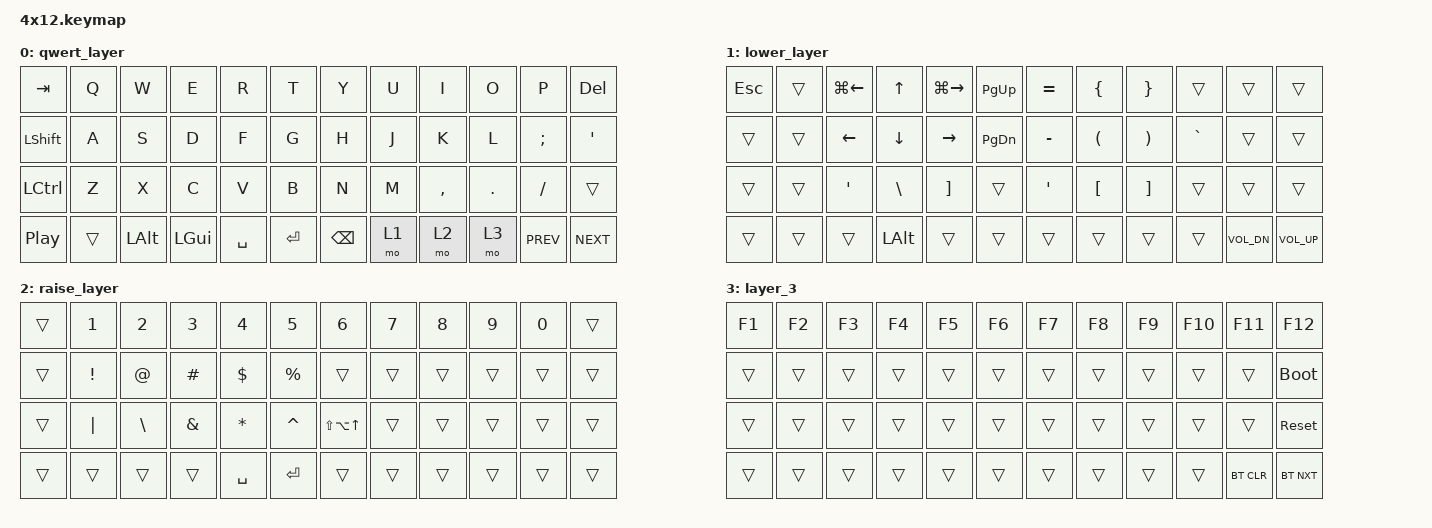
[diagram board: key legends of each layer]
#include <behaviors.dtsi>
#include <dt-bindings/zmk/bt.h>
#include <dt-bindings/zmk/keys.h>

/ {
	keymap {
		compatible = "zmk,keymap";

        chosen {
           zmk,physical-layout = &layout_ortho_4x12_all1u;
        };

		qwert_layer {
			bindings = <
               &kp TAB   &kp Q   &kp W    &kp E     &kp R      &kp T      &kp Y     &kp U   &kp I      &kp O   &kp P       &kp DEL
               &kp LSHFT &kp A   &kp S    &kp D     &kp F      &kp G      &kp H     &kp J   &kp K      &kp L   &kp SEMI    &kp SQT
               &kp LCTRL &kp Z   &kp X    &kp C     &kp V      &kp B      &kp N     &kp M   &kp COMMA  &kp DOT &kp FSLH    &trans
               &kp C_PP  &trans  &kp LALT &kp LGUI  &kp SPACE  &kp ENTER  &kp BSPC  &mo 1   &mo 2      &mo 3   &kp C_PREV  &kp C_NEXT
			>;
		};

		lower_layer {
			bindings = <
                &kp ESC &trans  &kp LG(LEFT) &kp UP    &kp LG(RIGHT) &kp PG_UP      &kp EQUAL   &kp LBRC   &kp RBRC   &trans     &trans       &trans
                &trans  &trans  &kp LEFT     &kp DOWN  &kp RIGHT     &kp PAGE_DOWN  &kp MINUS   &kp LPAR   &kp RPAR   &kp GRAVE  &trans       &trans
                &trans  &trans  &kp SQT      &kp BSLH  &kp RBKT      &trans         &kp SQT     &kp LBKT   &kp RBKT   &trans     &trans       &trans
                &trans  &trans  &trans       &kp LALT  &trans        &trans         &trans      &trans     &trans     &trans     &kp C_VOL_DN &kp C_VOL_UP
            >;
       };

		raise_layer {
			bindings = <
                &trans  &kp N1     &kp N2     &kp N3     &kp N4     &kp N5     &kp N6          &kp N7   &kp N8   &kp N9  &kp N0  &trans
                &trans  &kp EXCL   &kp AT     &kp HASH   &kp DLLR   &kp PRCNT  &trans          &trans   &trans   &trans  &trans  &trans
                &trans  &kp PIPE   &kp BSLH   &kp AMPS   &kp STAR   &kp CARET  &kp LS(LA(UP))  &trans   &trans   &trans  &trans  &trans
                &trans  &trans     &trans     &trans     &kp SPACE  &kp ENTER  &trans          &trans   &trans   &trans  &trans  &trans
            >;
		};

		layer_3 {
			bindings = <
                &kp F1  &kp F2   &kp F3   &kp F4   &kp F5   &kp F6   &kp F7   &kp F8   &kp F9     &kp F10   &kp F11   &kp F12
                &trans  &trans   &trans   &trans   &trans   &trans   &trans   &trans   &trans     &trans   &trans     &bootloader
                &trans  &trans   &trans   &trans   &trans   &trans   &trans   &trans   &trans     &trans   &trans     &sys_reset
                &trans  &trans   &trans   &trans   &trans   &trans   &trans   &trans   &trans     &trans   &bt BT_CLR &bt BT_NXT
            >;
        };
    };
};
